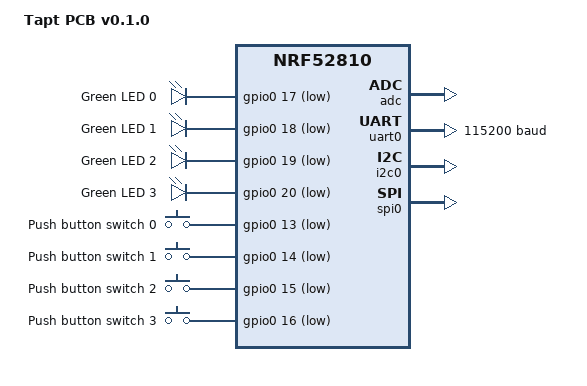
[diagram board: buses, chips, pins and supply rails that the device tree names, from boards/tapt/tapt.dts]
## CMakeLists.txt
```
cmake_minimum_required(VERSION 3.20.0)

set(BOARD_ROOT ${CMAKE_CURRENT_SOURCE_DIR})

find_package(Zephyr REQUIRED HINTS $ENV{ZEPHYR_BASE})
project(tapt_firmware)

target_sources(app PRIVATE src/main.c src/bluetooth.c src/battery.c)
```

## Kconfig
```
# Copyright (c) 2021 Nordic Semiconductor ASA
# SPDX-License-Identifier: Apache-2.0
#
# This file is the application Kconfig entry point. All application Kconfig
# options can be defined here or included via other application Kconfig files.
# You can browse these options using the west targets menuconfig (terminal) or
# guiconfig (GUI).

menu "Zephyr"
source "Kconfig.zephyr"
endmenu

config TAPT_DEVICE_ID
    int "Tapt bluetooth advertisment ID"
    default 0
    help
      Tapt unique device ID for Home Assistant identification. Relevant with multiple Tapt devices.

module = APP
module-str = APP
source "subsys/logging/Kconfig.template.log_config"
```

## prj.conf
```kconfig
CONFIG_SYSTEM_WORKQUEUE_STACK_SIZE=1024
CONFIG_MAIN_STACK_SIZE=1024
CONFIG_PM_DEVICE=y
CONFIG_ZERO_LATENCY_LEVELS=1
CONFIG_LOG=y
CONFIG_PARTITION_MANAGER_ENABLED=y
CONFIG_NRFX_GPIOTE_NUM_OF_EVT_HANDLERS=1
CONFIG_HWINFO=y
CONFIG_CLOCK_CONTROL_NRF_K32SRC_XTAL=y
CONFIG_CLOCK_CONTROL_NRF_K32SRC_30PPM=y
CONFIG_ENTROPY_NRF5_THR_THRESHOLD=4
CONFIG_ENTROPY_NRF5_ISR_THRESHOLD=12
CONFIG_LED=y
CONFIG_PINCTRL=y
CONFIG_RTC=y
CONFIG_BT=y
CONFIG_USE_SEGGER_RTT=y
CONFIG_HW_STACK_PROTECTION=y
CONFIG_SERIAL=n
CONFIG_CONSOLE=n
CONFIG_UART_CONSOLE=n
CONFIG_BOARD_TAPT=y
CONFIG_SENSOR=y
CONFIG_GPIO=y
CONFIG_ADC=y
CONFIG_POWEROFF=y
CONFIG_APP_LOG_LEVEL_DBG=y

# Bluetooth advertisment config
CONFIG_BT_DEVICE_NAME="Tapt"
CONFIG_TAPT_DEVICE_ID=1
```

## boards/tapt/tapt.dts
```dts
/dts-v1/;
#include <nordic/nrf52810_qcaa.dtsi>
#include <zephyr/dt-bindings/input/input-event-codes.h>

/ {
	model = "Tapt PCB v0.1.0";
	compatible = "tapt";

	chosen {
		zephyr,console = &uart0;
		zephyr,shell-uart = &uart0;
		zephyr,uart-mcumgr = &uart0;
		zephyr,bt-mon-uart = &uart0;
		zephyr,bt-c2h-uart = &uart0;
		zephyr,sram = &sram0;
		zephyr,flash = &flash0;
		zephyr,code-partition = &slot0_partition;
	};

	leds {
		compatible = "gpio-leds";

		led0: led_0 {
			gpios = <&gpio0 17 GPIO_ACTIVE_LOW>;
			label = "Green LED 0";
		};

		led1: led_1 {
			gpios = <&gpio0 18 GPIO_ACTIVE_LOW>;
			label = "Green LED 1";
		};

		led2: led_2 {
			gpios = <&gpio0 19 GPIO_ACTIVE_LOW>;
			label = "Green LED 2";
		};

		led3: led_3 {
			gpios = <&gpio0 20 GPIO_ACTIVE_LOW>;
			label = "Green LED 3";
		};
	};

	buttons {
		compatible = "gpio-keys";

		button0: button_0 {
			label = "Push button switch 0";
			gpios = <&gpio0 13 (GPIO_PULL_UP | GPIO_ACTIVE_LOW)>;
			zephyr,code = <INPUT_KEY_0>;
		};

		button1: button_1 {
			label = "Push button switch 1";
			gpios = <&gpio0 14 (GPIO_PULL_UP | GPIO_ACTIVE_LOW)>;
			zephyr,code = <INPUT_KEY_1>;
		};

		button2: button_2 {
			label = "Push button switch 2";
			gpios = <&gpio0 15 (GPIO_PULL_UP | GPIO_ACTIVE_LOW)>;
			zephyr,code = <INPUT_KEY_2>;
		};

		button3: button_3 {
			label = "Push button switch 3";
			gpios = <&gpio0 16 (GPIO_PULL_UP | GPIO_ACTIVE_LOW)>;
			zephyr,code = <INPUT_KEY_3>;
		};
	};

	/* These aliases are provided for compatibility with samples */
	aliases {
		led0 = &led0;
		led1 = &led1;
		led2 = &led2;
		led3 = &led3;
		sw0 = &button0;
		sw1 = &button1;
		sw2 = &button2;
		sw3 = &button3;
		mcuboot-button0 = &button0;
		mcuboot-led0 = &led0;
		watchdog0 = &wdt0;
	};
};

&reg {
	regulator-initial-mode = <NRF5X_REG_MODE_DCDC>;
};

&adc {
	status = "okay";
};

&uicr {
	gpio-as-nreset;
};

&gpiote {
	status = "okay";
};

&gpio0 {
	status = "okay";
};

&uart0 {
	compatible = "nordic,nrf-uarte";
	status = "okay";
	current-speed = <115200>;
	pinctrl-0 = <&uart0_default>;
	pinctrl-1 = <&uart0_sleep>;
	pinctrl-names = "default", "sleep";
};

&i2c0 {
	compatible = "nordic,nrf-twi";
	status = "okay";
	pinctrl-0 = <&i2c0_default>;
	pinctrl-1 = <&i2c0_sleep>;
	pinctrl-names = "default", "sleep";
};

&spi0 {
	compatible = "nordic,nrf-spi";
	status = "okay";
	pinctrl-0 = <&spi0_default>;
	pinctrl-1 = <&spi0_sleep>;
	pinctrl-names = "default", "sleep";
};

&flash0 {
	partitions {
		compatible = "fixed-partitions";
		#address-cells = <1>;
		#size-cells = <1>;

		boot_partition: partition@0 {
			label = "mcuboot";
			reg = <0x00000000 0xc000>;
		};

		slot0_partition: partition@c000 {
			label = "image-0";
			reg = <0x0000C000 0xe000>;
		};

		slot1_partition: partition@1a000 {
			label = "image-1";
			reg = <0x0001a000 0xe000>;
		};

		storage_partition: partition@28000 {
			label = "storage";
			reg = <0x00028000 0x00008000>;
		};
	};
};
```

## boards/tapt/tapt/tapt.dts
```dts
/dts-v1/;
#include <nordic/nrf52810_qfaa.dtsi>

/ {
	model = "Tapt PCB v0.1.0";
	compatible = "tapt";

	aliases {
		status-led = &status_led;
		limit-switch = &limit_switch;
	};

	chosen {
		// zephyr,console = &uart0;
		// zephyr,shell-uart = &uart0;
		zephyr,sram = &sram0;
		zephyr,flash = &flash0;
	};

	leds {
		compatible = "gpio-leds";

		status_led: status_led {
			gpios = <&gpio0 10 GPIO_ACTIVE_HIGH>;
			label = "Green Status LED";
		};
	};

	buttons {
		compatible = "gpio-keys";

		limit_switch: limit_switch {
			label = "Limit Switch";
			// onboard pullup
			gpios = <&gpio0 4 GPIO_ACTIVE_LOW>;
		};
	};

	vbatt {
		compatible = "voltage-divider";
		status = "okay";
		// GPIO 6 / ADC 3
		io-channels = <&adc 0>;
		// 1M + 1M
    output-ohms = <1000000>;
    full-ohms = <(1000000 + 1000000)>;
		power-gpios = <&gpio0 9 GPIO_ACTIVE_LOW>;
	};
};

&reg {
	regulator-initial-mode = <NRF5X_REG_MODE_DCDC>;
};

/* &pinctrl {
  uart0_default: uart0_default {
		group1 {
			psels = <NRF_PSEL(UART_TX, 0, 6)>,
				<NRF_PSEL(UART_RX, 0, 8)>;
		};
	};

  uart0_sleep: uart0_sleep {
		group1 {
			psels = <NRF_PSEL(UART_TX, 0, 6)>,
				<NRF_PSEL(UART_RX, 0, 8)>;
			low-power-enable;
		};
	};
}; */

&adc {
	status = "okay";
	#address-cells = <1>;
	#size-cells = <0>;

	channel@0 {
		reg = <0>;
		// max 2V, our dividers results in 1.85V
		zephyr,gain = "ADC_GAIN_1_4";
		zephyr,reference = "ADC_REF_INTERNAL";
		zephyr,input-positive = <NRF_SAADC_AIN3>; // P0.05
		// defaults from battery channel
		zephyr,resolution = <14>;
		zephyr,oversampling = <4>;
		zephyr,acquisition-time = <ADC_ACQ_TIME(ADC_ACQ_TIME_MICROSECONDS, 40)>;
	};
};

&uicr {
	gpio-as-nreset;
};

&gpiote {
	status = "okay";
	wakeup-source;
};

&gpio0 {
	status = "okay";
};

/* &uart0 {
	compatible = "nordic,nrf-uarte";
	status = "disabled";
	current-speed = <115200>;
	pinctrl-0 = <&uart0_default>;
	pinctrl-1 = <&uart0_sleep>;
	pinctrl-names = "default", "sleep";
}; */
```

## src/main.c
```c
#include <zephyr/kernel.h>
#include <zephyr/logging/log.h>
#include <zephyr/drivers/gpio.h>
#include <zephyr/drivers/hwinfo.h>
#include <zephyr/sys/poweroff.h>
#include <zephyr/sys/util.h>
#include <zephyr/device.h>
#include "battery.h"
#include "bluetooth.h"

LOG_MODULE_REGISTER(main, CONFIG_APP_LOG_LEVEL);

void power_off(void) {
  hwinfo_clear_reset_cause();
  sys_poweroff();
}

int main(void) {
  // test SWD logging (non trivial?)
  LOG_DBG("Hello, world!");

  const struct gpio_dt_spec status_led = GPIO_DT_SPEC_GET(DT_ALIAS(status_led), gpios);
  if (!gpio_is_ready_dt(&status_led)) {
    LOG_ERR("Status LED is not ready");
    return -ENODEV;
  }

  int error;

  // apply cfg
  if ((error = gpio_pin_configure_dt(&status_led, GPIO_OUTPUT_ACTIVE))) {
    LOG_ERR("Status LED config error: %d", error);
    return error;
  }

  // flash for 0.2s
  gpio_pin_set_dt(&status_led, 1);
  k_sleep(K_MSEC(200));
  gpio_pin_set_dt(&status_led, 0);

  // configure button for wakeup
  const struct gpio_dt_spec limit_switch = GPIO_DT_SPEC_GET(DT_ALIAS(limit_switch), gpios);
  if (!gpio_is_ready_dt(&limit_switch)) {
    LOG_ERR("Limit switch is not ready");
    return -ENODEV;
  }

  // apply cfg
  if ((error = gpio_pin_configure_dt(&limit_switch, GPIO_INPUT))) {
    LOG_ERR("Limit switch config error: %d", error);
    return error;
  }

  // enable interrupt
  if ((error = gpio_pin_interrupt_configure_dt(&limit_switch, GPIO_INT_LEVEL_ACTIVE))) {
    LOG_ERR("Limit switch interrupt enable error: %d", error);
    return error;
  }

  battery_sensor_t battery;
  if ((error = battery_sensor_init(&battery))) return error;
  int32_t battery_level;
  if ((error = battery_sensor_read(&battery, &battery_level))) return error;

  // determine if button pressed (power on due to gpio interrupt)
  uint32_t reset_cause;
  hwinfo_get_reset_cause(&reset_cause);
  bool button_pressed = (reset_cause & RESET_LOW_POWER_WAKE) != 0;

  // send bluetooth advertisment, with button pressed if applicable
  if ((error = bluetooth_init())) return error;
  if ((error = bluetooth_advertise(battery_level, button_pressed))) return error;

  // wait 1s then power off
  k_sleep(K_MSEC(500));
  
  if ((error = bluetooth_advertise_stop())) return error;
  power_off();
  
  return 0;
}
```

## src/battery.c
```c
#include "battery.h"
#include <zephyr/logging/log.h>

LOG_MODULE_REGISTER(battery, CONFIG_APP_LOG_LEVEL);

int battery_sensor_init(battery_sensor_t *battery_sensor) {
  LOG_DBG("Initializing vbatt voltage_divider sensor");
  
  // Load sensor from devicetree
  battery_sensor->voltage_divider = DEVICE_DT_GET(DT_PATH(vbatt));
  if (!battery_sensor->voltage_divider) {
    LOG_ERR("vbatt voltage divider is not declared in the device tree");
    return -ENODEV;
  } else if (!device_is_ready(battery_sensor->voltage_divider)) {
    LOG_ERR("vbatt voltage divider device is not ready");
    return -EAGAIN;
  }

  // success
  return 0;
}
int battery_sensor_read(battery_sensor_t *battery_sensor, int32_t *value) {
  LOG_DBG("Reading value from vbatt voltage_divider");

  int error;

  // fetch reading
  if ((error = sensor_sample_fetch(battery_sensor->voltage_divider))) {
    LOG_ERR("failed to fetch sample from voltage divider: %d", error);
    return error;
  }

  // get reading value
  struct sensor_value reading;
  if ((error = sensor_channel_get(battery_sensor->voltage_divider, SENSOR_CHAN_VOLTAGE, &reading))) {
    LOG_ERR("failed to read data from voltage divider: %d", error);
    return error;
  }

  *value = (int32_t) sensor_value_to_milli(&reading);
  LOG_DBG("Read value %d from voltage divider", *value);

  return 0;
}
```

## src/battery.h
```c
#pragma once

#include <zephyr/drivers/sensor.h>

typedef struct {
  const struct device *voltage_divider;
} battery_sensor_t;

int battery_sensor_init(battery_sensor_t *battery_sensor);
/// Read the current voltage level on the battery sensor in millivolts
int battery_sensor_read(battery_sensor_t *battery_sensor, int32_t *value);
```

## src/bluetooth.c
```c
#include "bluetooth.h"
#include <zephyr/bluetooth/bluetooth.h>
#include <zephyr/bluetooth/gap.h>
#include <zephyr/logging/log.h>

LOG_MODULE_REGISTER(bluetooth, CONFIG_APP_LOG_LEVEL);

#define DEVICE_NAME CONFIG_BT_DEVICE_NAME
#define DEVICE_NAME_LEN (sizeof(DEVICE_NAME) - 1)
#define NORDIC_COMPANY_ID 0x0059

typedef struct adv_mfg_data {
  uint16_t company_code; // Nordic Semiconductor
  uint16_t battery_level;
  uint8_t device_id;
  bool pressed;
} adv_mfg_data_t;

int bluetooth_init(void) {
  int error;
  if ((error = bt_enable(NULL))) { // synchronous load
    LOG_ERR("Bluetooth init failed: %d", error);
    return error;
  }
  LOG_DBG("Initialized bluetooth");
  return 0;
}
int bluetooth_advertise(int32_t battery_level, bool pressed) {
  const adv_mfg_data_t mfg_data = {
    .company_code = NORDIC_COMPANY_ID,
    .battery_level = battery_level,
    .device_id = CONFIG_TAPT_DEVICE_ID,
    .pressed = pressed
  };
  
  const struct bt_data ad[] = {
    BT_DATA_BYTES(BT_DATA_FLAGS, BT_LE_AD_NO_BREDR),
    BT_DATA(BT_DATA_NAME_COMPLETE, DEVICE_NAME, DEVICE_NAME_LEN),
    BT_DATA(BT_DATA_MANUFACTURER_DATA, &mfg_data, sizeof(mfg_data))
  };
  int error;
  if ((error = bt_le_adv_start(BT_LE_ADV_NCONN_IDENTITY, ad, ARRAY_SIZE(ad), NULL, 0))) {
    LOG_ERR("Bluetooth advertise failed: %d", error);
    return error;
  }
  return 0;
}
int bluetooth_advertise_stop(void) {
  int error;
  if ((error = bt_le_adv_stop())) {
    LOG_ERR("Bluetooth stop advertise failed: %d", error);
    return error;
  }
  return 0;
}
```

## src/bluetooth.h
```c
#pragma once

#include <stdint.h>
#include <stdbool.h>

int bluetooth_init(void);
int bluetooth_advertise(int32_t battery_level, bool pressed);
int bluetooth_advertise_stop(void);
```
